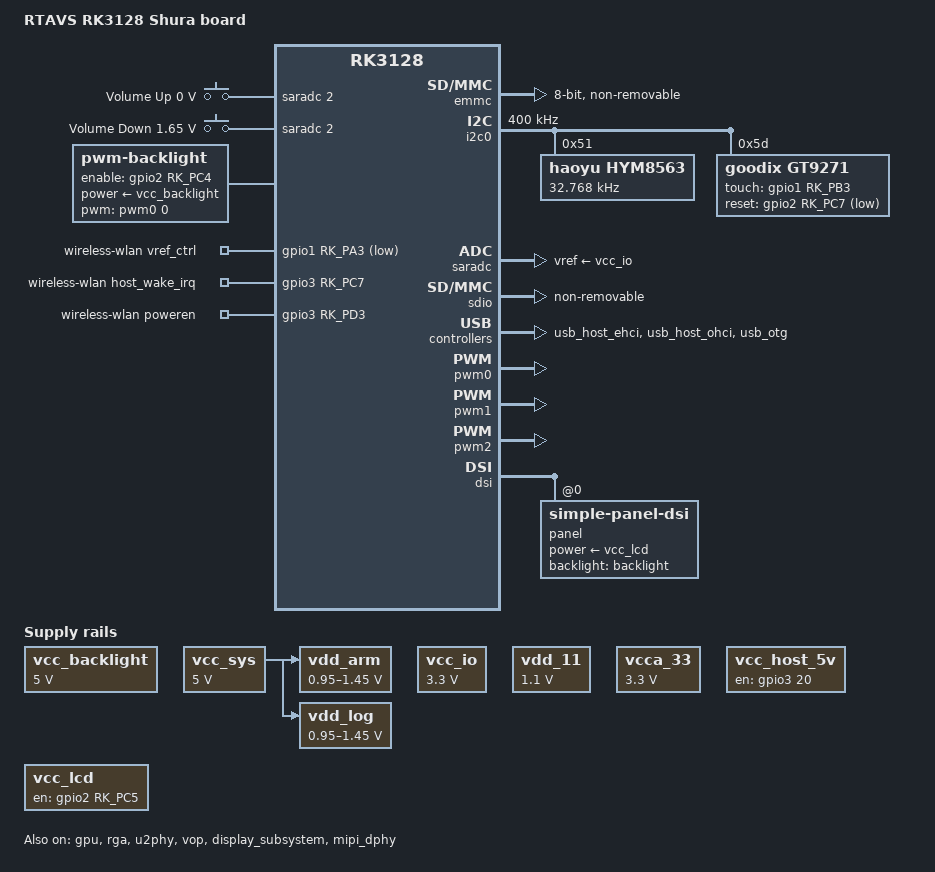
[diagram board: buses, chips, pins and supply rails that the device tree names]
/*
 * This file is dual-licensed: you can use it either under the terms
 * of the GPL or the X11 license, at your option. Note that this dual
 * licensing only applies to this file, and not this project as a
 * whole.
 *
 *  a) This file is free software; you can redistribute it and/or
 *     modify it under the terms of the GNU General Public License as
 *     published by the Free Software Foundation; either version 2 of the
 *     License, or (at your option) any later version.
 *
 *     This file is distributed in the hope that it will be useful,
 *     but WITHOUT ANY WARRANTY; without even the implied warranty of
 *     MERCHANTABILITY or FITNESS FOR A PARTICULAR PURPOSE.  See the
 *     GNU General Public License for more details.
 *
 *  Or, alternatively,
 *
 *  b) Permission is hereby granted, free of charge, to any person
 *     obtaining a copy of this software and associated documentation
 *     files (the "Software"), to deal in the Software without
 *     restriction, including without limitation the rights to use,
 *     copy, modify, merge, publish, distribute, sublicense, and/or
 *     sell copies of the Software, and to permit persons to whom the
 *     Software is furnished to do so, subject to the following
 *     conditions:
 *
 *     The above copyright notice and this permission notice shall be
 *     included in all copies or substantial portions of the Software.
 *
 *     THE SOFTWARE IS PROVIDED "AS IS", WITHOUT WARRANTY OF ANY KIND,
 *     EXPRESS OR IMPLIED, INCLUDING BUT NOT LIMITED TO THE WARRANTIES
 *     OF MERCHANTABILITY, FITNESS FOR A PARTICULAR PURPOSE AND
 *     NONINFRINGEMENT. IN NO EVENT SHALL THE AUTHORS OR COPYRIGHT
 *     HOLDERS BE LIABLE FOR ANY CLAIM, DAMAGES OR OTHER LIABILITY,
 *     WHETHER IN AN ACTION OF CONTRACT, TORT OR OTHERWISE, ARISING
 *     FROM, OUT OF OR IN CONNECTION WITH THE SOFTWARE OR THE USE OR
 *     OTHER DEALINGS IN THE SOFTWARE.
 */

/dts-v1/;
#include <dt-bindings/gpio/gpio.h>
#include <dt-bindings/input/input.h>
#include <dt-bindings/pinctrl/rockchip.h>
#include <dt-bindings/pwm/pwm.h>
#include <dt-bindings/sensor-dev.h>
#include "rk3128.dtsi"

#include <dt-bindings/soc/rockchip-system-status.h>
#include <dt-bindings/display/mipi_dsi.h>
#include <dt-bindings/display/drm_mipi_dsi.h>
#include <dt-bindings/display/media-bus-format.h>



/ {
	model = "RTAVS RK3128 Shura board";
	compatible = "rtavs,rk3128-shura", "rockchip,rk3128";

	chosen {
		bootargs = "earlycon=uart8250,mmio32,0x20068000";
	};

	fiq-debugger {
		compatible = "rockchip,fiq-debugger";
		rockchip,serial-id = <2>;
		rockchip,signal-irq = <159>;
		rockchip,wake-irq = <0>;
		/* If enable uart uses irq instead of fiq */
		rockchip,irq-mode-enable = <0>;
		rockchip,baudrate = <115200>;  /* Only 115200 and 1500000 */
		interrupts = <GIC_SPI 127 IRQ_TYPE_LEVEL_LOW>;
		status = "okay";
	};

	adc-keys {
		compatible = "adc-keys";
		io-channels = <&saradc 2>;
		io-channel-names = "buttons";
		poll-interval = <100>;
		keyup-threshold-microvolt = <3300000>;

		button-up {
			label = "Volume Up";
			linux,code = <KEY_VOLUMEUP>;
			press-threshold-microvolt = <0>;
		};

		button-down {
			label = "Volume Down";
			linux,code = <KEY_VOLUMEDOWN>;
			press-threshold-microvolt = <1650000>;
		};
	};

	backlight: backlight {
		compatible = "pwm-backlight";
		pwms = <&pwm0 0 25000 0>;
		brightness-levels = <
				255 169 168 168 167 166 166 165
				164 164 163 162 162 161 160 160
				159 158 158 157 156 156 155 154
				154 153 152 152 151 150 150 149
				148 148 147 146 146 145 144 144
				143 142 142 141 140 140 139 138
				138 137 136 136 135 134 134 133
				132 132 131 130 130 129 128 128
				127 126 126 125 124 124 123 122
				122 121 120 120 119 118 118 117
				116 116 115 114 114 113 112 112
				111 110 110 109 108 108 107 106
				106 105 104 104 103 102 102 101
				100 100  99  98  98  97  96  96
				 95  94  94  93  92  92  91  90
				 90  89  88  88  87  86  86  85
				 84  84  83  82  82  81  80  80
				 79  78  78  77  76  76  75  74
				 74  73  72  72  71  70  70  69
				 68  68  67  66  66  65  64  64
				 63  62  62  61  60  60  59  58
				 58  57  56  56  55  54  54  53
				 52  52  51  50  50  49  48  48
				 47  46  46  45  44  44  43  42
				 42  41  40  40  39  38  38  37
				 36  36  35  34  34  33  32  32
				 31  30  30  29  28  28  27  26
				 26  25  24  24  23  22  22  21
				 20  20  19  18  18  17  16  16
				 15  14  14  13  12  12  11  10
				 10   9   8   8   7   6   6   5
				  4   4   3   2   1   1   1   0>;
		default-brightness-level = <128>;
		power-supply = <&vcc_backlight>;
		enable-gpios = <&gpio2 RK_PC4 GPIO_ACTIVE_HIGH>;
		status = "okay";
	};

	vcc_backlight: vcc-backlight {
		compatible = "regulator-fixed";
		regulator-name = "vcc_backlight";
		regulator-min-microvolt = <5000000>;
		regulator-max-microvolt = <5000000>;
		regulator-always-on;
	};


	vcc_sys: vcc-sys {
		compatible = "regulator-fixed";
		regulator-name = "vcc_sys";
		regulator-always-on;
		regulator-boot-on;
		regulator-min-microvolt = <5000000>;
		regulator-max-microvolt = <5000000>;
	};

	vdd_arm: vdd-arm {
		compatible = "pwm-regulator";
		pwms = <&pwm1 0 25000 1>;
		pwm-supply = <&vcc_sys>;
		regulator-name = "vdd_arm";
		regulator-always-on;
		regulator-boot-on;
		regulator-min-microvolt = <950000>;
		regulator-max-microvolt = <1450000>;
		voltage-table = < 950000 91>,
		                < 975000 86>,
		                <1000000 81>,
		                <1025000 77>,
		                <1050000 72>,
		                <1075000 68>,
		                <1100000 64>,
		                <1125000 59>,
		                <1150000 54>,
		                <1175000 50>,
		                <1200000 45>,
		                <1225000 41>,
		                <1250000 36>,
		                <1275000 31>,
		                <1300000 27>,
		                <1325000 22>,
		                <1350000 18>,
		                <1375000 13>,
		                <1400000  9>,
		                <1425000  5>,
		                <1450000  0>;
		regulator-state-mem {
			regulator-on-in-suspend;
			regulator-suspend-microvolt = <1250000>;
		};
	};

	vdd_log: vdd-log {
		compatible = "pwm-regulator";
		pwms = <&pwm2 0 25000 1>;
		pwm-supply = <&vcc_sys>;
		regulator-name = "vdd_log";
		regulator-min-microvolt = <950000>;
		regulator-max-microvolt = <1450000>;
		regulator-always-on;
		regulator-boot-on;
		voltage-table = < 950000 91>,
		                < 975000 86>,
		                <1000000 81>,
		                <1025000 77>,
		                <1050000 72>,
		                <1075000 68>,
		                <1100000 64>,
		                <1125000 59>,
		                <1150000 54>,
		                <1175000 50>,
		                <1200000 45>,
		                <1225000 41>,
		                <1250000 36>,
		                <1275000 31>,
		                <1300000 27>,
		                <1325000 22>,
		                <1350000 18>,
		                <1375000 13>,
		                <1400000  9>,
		                <1425000  5>,
		                <1450000  0>;
		regulator-state-mem {
			regulator-on-in-suspend;
			regulator-suspend-microvolt = <1200000>;
		};
	};

	vcc_io: vcc-io {
		compatible = "regulator-fixed";
		regulator-name = "vcc_io";
		regulator-always-on;
		regulator-boot-on;
		regulator-min-microvolt = <3300000>;
		regulator-max-microvolt = <3300000>;
	};

	vdd_11: vdd-11 {
		compatible = "regulator-fixed";
		regulator-name = "vdd_11";
		regulator-always-on;
		regulator-boot-on;
		regulator-min-microvolt = <1100000>;
		regulator-max-microvolt = <1100000>;
	};

	vcca_33: vcca-33 {
		compatible = "regulator-fixed";
		regulator-name = "vcca_33";
		regulator-always-on;
		regulator-boot-on;
		regulator-min-microvolt = <3300000>;
		regulator-max-microvolt = <3300000>;
	};

	vcc_host_5v: vcc-host-5v-regulator {
		compatible = "regulator-fixed";
		enable-active-high;
		gpio = <&gpio3 20 GPIO_ACTIVE_HIGH>;
		pinctrl-names = "default";
		pinctrl-0 = <&host_vbus_drv>;
		regulator-name = "vcc_host_5v";
		regulator-always-on;
	};

	vcc_lcd: vcc-lcd {
		compatible = "regulator-fixed";
		enable-active-high;
		gpio = <&gpio2 RK_PC5 GPIO_ACTIVE_HIGH>;
		pinctrl-names = "default";
		pinctrl-0 = <&vcc_lcd_en>;
		regulator-name = "vcc_lcd_en";
		regulator-always-on;
	};


	wireless-wlan {
		compatible = "wlan-platdata";

		vref_ctrl_enable;
		vref_ctrl_gpio = <&gpio1 RK_PA3 GPIO_ACTIVE_LOW>;

		wifi_chip_type = "rtl8723bs";
		WIFI,host_wake_irq = <&gpio3 RK_PC7 GPIO_ACTIVE_HIGH>;
		WIFI,poweren_gpio  = <&gpio3 RK_PD3 GPIO_ACTIVE_HIGH>;
		status = "okay";
	};
};

&cpu0 {
	cpu-supply = <&vdd_arm>;
};

&emmc {
	bus-width = <8>;
	cap-mmc-highspeed;
	supports-emmc;
	disable-wp;
	non-removable;
	num-slots = <1>;
	pinctrl-names = "default";
	pinctrl-0 = <&emmc_clk &emmc_cmd &emmc_bus8>;
	status = "okay";
};

&gpu {
	status = "okay";
	mali-supply = <&vdd_log>;
};


&i2c0 {
	status = "okay";
	clock-frequency = <400000>;

	hym8563: hym8563@51 {
	   compatible = "haoyu,hym8563";
	   reg = <0x51>;
	   #clock-cells = <0>;
	   clock-frequency = <32768>;
	   clock-output-names = "xin32k";
	};

	gt9271: gt9271@5d {
		compatible = "goodix,gt9271";
		reg = <0x5d>;
		touch-gpio = <&gpio1 RK_PB3 IRQ_TYPE_LEVEL_LOW>;
		reset-gpio = <&gpio2 RK_PC7 GPIO_ACTIVE_LOW>;
		max-x = <1024>;
		max-y = <600>;
		status = "okay";
	};

};



&i2c2 {
	status = "disabled";
	clock-frequency = <400000>;
};


&pinctrl {
	usb2 {
		host_vbus_drv: host-vbus-drv {
			rockchip,pins = <3 RK_PC4 RK_FUNC_GPIO &pcfg_pull_none>;
		};
	};

	lcd {
		vcc_lcd_en: vcc-lcd-en {
			rockchip,pins = <2 RK_PC5 RK_FUNC_GPIO &pcfg_pull_none>;
		};
	};

};



&rga {
	status = "okay";
};

&saradc {
	status = "okay";
	vref-supply = <&vcc_io>;
};

&sdmmc {
	cap-mmc-highspeed;
	supports-sd;
	broken-cd;
	card-detect-delay = <800>;
	ignore-pm-notify;
	keep-power-in-suspend;
	cd-gpios = <&gpio1 17 GPIO_ACTIVE_HIGH>; /* CD GPIO */
	status = "disabled";
};

&sdio {
	max-frequency = <50000000>;
	cap-sd-highspeed;
	supports-sdio;
	ignore-pm-notify;
	keep-power-in-suspend;
	non-removable;
	/* vmmc-supply = <&ldo5>; */
	status = "okay";
};

&u2phy {
	status = "okay";
	otg-vbus-gpios = <&gpio0 30 GPIO_ACTIVE_HIGH>;

	u2phy_otg: otg-port {
		status = "okay";
	};

	u2phy_host: host-port {
		phy-supply = <&vcc_host_5v>;
		status = "okay";
	};
};

&usb_host_ehci {
	status = "okay";
};

&usb_host_ohci {
	status = "okay";
};

&usb_otg {
	status = "okay";
};

&vop {
	status = "okay";
};

&vop_mmu {
	status = "okay";
};

&pwm0 {
	status = "okay";
};

&pwm1 {
	status = "okay";
};

&pwm2 {
	status = "okay";
};

&display_subsystem {
	status = "okay";

	route {
		route_dsi: route-dsi {
			status = "okay";
			connect = <&vop_out_dsi>;
		};

		route_lvds: route-lvds {
			status = "disabled";
			connect = <&vop_out_lvds>;
		};
	};
};

&mipi_dphy {
	status = "okay";
};


&dsi {
	status = "okay";

	panel@0 {
		compatible = "simple-panel-dsi";
		reg = <0>;
		backlight = <&backlight>;
		power-supply = <&vcc_lcd>;
		power-invert;
		prepare-delay-ms = <20>;
		reset-delay-ms = <20>;
		init-delay-ms = <20>;
		enable-delay-ms = <120>;
		disable-delay-ms = <20>;
		unprepare-delay-ms = <20>;

		width-mm = <153>;
		height-mm = <85>;

		dsi,flags = <(MIPI_DSI_MODE_VIDEO | MIPI_DSI_MODE_VIDEO_BURST |
			      MIPI_DSI_MODE_LPM | MIPI_DSI_MODE_EOT_PACKET)>;
		dsi,format = <MIPI_DSI_FMT_RGB888>;
		dsi,lanes = <4>;

		panel-init-sequence = [
			05 1e 01 01
			15 00 02 80 47
			15 00 02 81 40
			15 00 02 82 04
			15 00 02 83 77
			15 00 02 84 0f
			15 00 02 85 70
			15 78 02 86 70
		];

		display-timings {
			native-mode = <&timing0>;

			timing0: timing0 {
				clock-frequency = <49500000>;
				hactive = <1024>;
				hfront-porch = <120>;
				hsync-len = <40>;
				hback-porch = <120>;
				vactive = <600>;
				vfront-porch = <14>;
				vsync-len = <4>;
				vback-porch = <14>;
				hsync-active = <0>;
				vsync-active = <0>;
				de-active = <0>;
				pixelclk-active = <0>;
			};
		};
	};
};
